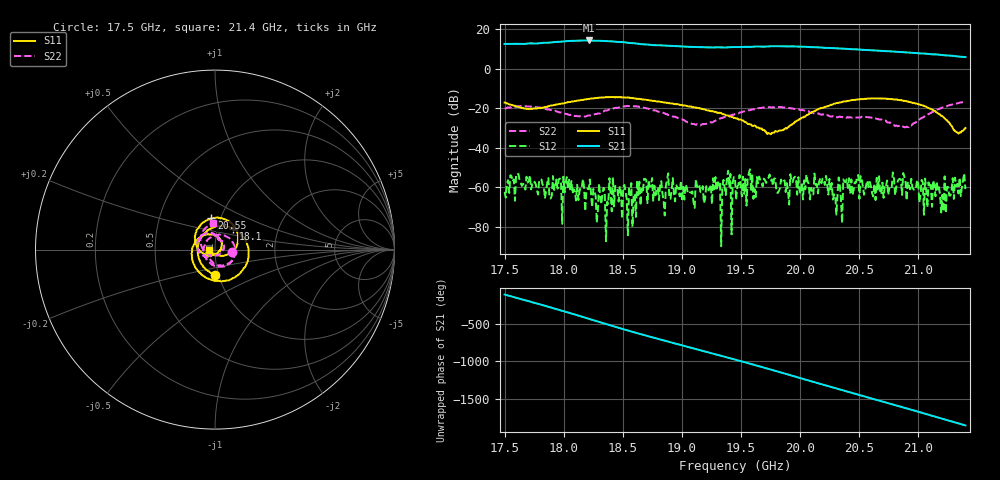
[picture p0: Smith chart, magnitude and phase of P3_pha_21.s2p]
!Created with skrf (http://scikit-rf.org).
# GHz S RI R 50.0
!freq ReS11 ImS11 ReS21 ImS21 ReS12 ImS12 ReS22 ImS22
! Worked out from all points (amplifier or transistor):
!   401 points, 17.5 GHz to 21.4 GHz, reference 50 ohm
!   highest |S21| = 14.4 dB at 18.21 GHz (marker M1)
!   |S21| within 3 dB of that: start of sweep to 18.99 GHz (the widest 1 of 3)
!   unconditionally stable (mu >= 1): start of sweep to end of sweep
!   at 18.14 GHz: K = 88.37, MAG = 14.5 dB, |S12| = -59.6 dB
!   at 19.45 GHz: K = 84.17, MAG = 11.1 dB, |S12| = -55.7 dB
!   at 21.4 GHz: K = 272.75, MAG = 6.1 dB, |S12| = -60.9 dB
!   S11 on the Smith chart (normalised r, x): 17.5 GHz: 0.96, -0.27; 18.1 GHz: 1.19, +0.28; 20.55 GHz: 0.91, +0.33; 21.4 GHz: 0.94, -0.00
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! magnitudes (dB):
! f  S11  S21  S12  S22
! 17.5 GHz  -17.1  12.7  -62.3  -20.2
! 17.62 GHz  -19.3  12.7  -53.2  -18.9
! 18.1 GHz  -16.3  14.3  -66.6  -23.8
! 18.15 GHz  -15.8  14.4  -59.9  -24.0
! 18.21 GHz  -15.2  14.4  -61.0  -23.6
! 18.3 GHz  -14.6  14.3  -58.1  -22.7
! 18.44 GHz  -14.4  13.8  -59.3  -19.7
! 18.56 GHz  -14.7  13.1  -64.0  -18.7
! 18.68 GHz  -15.6  12.5  -55.8  -19.7
! 18.81 GHz  -16.6  12.0  -66.5  -21.8
! 19.09 GHz  -19.4  11.1  -62.1  -27.9
! 19.14 GHz  -19.8  11.0  -59.6  -28.2
! 19.45 GHz  -24.9  11.1  -55.7  -22.9
! 19.74 GHz  -32.7  11.5  -53.5  -19.3
! 20.1 GHz  -21.8  11.0  -62.7  -22.1
! 20.21 GHz  -19.3  10.7  -58.8  -23.1
! 20.3 GHz  -17.5  10.5  -63.6  -24.5
! 20.55 GHz  -15.1  9.6  -61.6  -24.3
! 20.76 GHz  -15.3  8.9  -60.4  -27.2
! 21.15 GHz  -21.5  7.4  -64.5  -20.9
! 21.21 GHz  -24.5  6.9  -72.4  -19.5
! 21.4 GHz  -30.0  6.0  -60.9  -16.5
